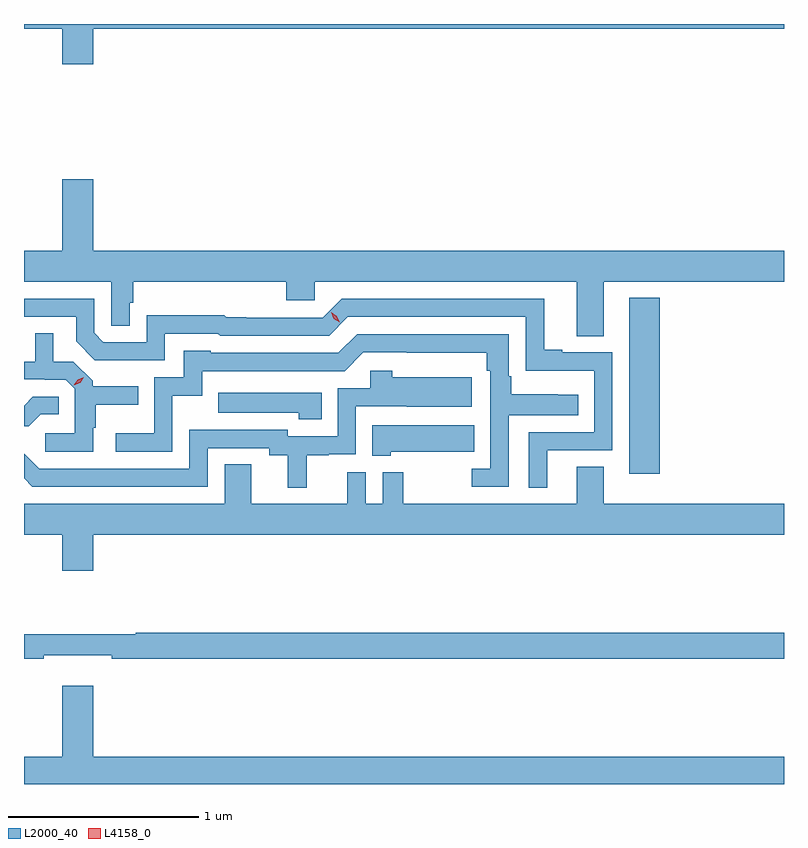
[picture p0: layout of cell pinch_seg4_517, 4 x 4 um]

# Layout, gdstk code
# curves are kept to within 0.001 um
import gdstk
lib = gdstk.Library(unit=1e-6, precision=1e-09)
def R(c, l, rs):  # rectangles x0, y0, x1, y1
    for r in rs: c.add(gdstk.rectangle(r[:2], r[2:], *l))
def P(c, l, *ps):  # polygons
    for p in ps: c.add(gdstk.Polygon(p, *l))
L2000_40 = (2000, 40)
L4158_0 = (4158, 0)

pinch_seg4_517 = lib.new_cell('pinch_seg4_517')
R(pinch_seg4_517, L2000_40, [(1007.153,755.85,1007.314,756.775)])
P(pinch_seg4_517, L2000_40, [(1004.332,758.192),(1007.967,758.192),(1007.967,758.217),(1003.967,758.217),(1003.967,758.192),(1004.168,758.192),(1004.168,758.004),(1004.332,758.004)],
  [(1007.017,756.86),(1007.967,756.86),(1007.967,757.024),(1004.332,757.024),(1004.332,757.399),(1004.168,757.399),(1004.168,757.024),(1003.967,757.024),(1003.967,756.86),(1004.427,756.86),(1004.427,756.628),(1004.523,756.628),(1004.523,756.75),(1004.543,756.75),(1004.543,756.86),(1005.347,756.86),(1005.347,756.762),(1005.498,756.762),(1005.498,756.86),(1006.877,756.86),(1006.877,756.574),(1007.017,756.574)],
  [(1006.72,755.973),(1007.064,755.973),(1007.064,756.489),(1006.801,756.489),(1006.801,756.502),(1006.705,756.502),(1006.705,756.771),(1005.639,756.771),(1005.54,756.672),(1005.032,756.673),(1005.021,756.685),(1004.613,756.685),(1004.613,756.543),(1004.385,756.543),(1004.337,756.591),(1004.337,756.771),(1003.967,756.771),(1003.967,756.675),(1004.241,756.675),(1004.241,756.546),(1004.339,756.448),(1004.449,756.448),(1004.449,756.446),(1004.709,756.446),(1004.709,756.588),(1004.988,756.588),(1005,756.576),(1005.573,756.576),(1005.672,756.675),(1006.608,756.675),(1006.608,756.393),(1006.968,756.393),(1006.968,756.069),(1006.623,756.069),(1006.623,755.777),(1006.72,755.777)],
  [(1004.331,756.093),(1004.344,756.093),(1004.344,756.212),(1004.567,756.212),(1004.567,756.31),(1004.328,756.31),(1004.328,756.339),(1004.227,756.44),(1004.121,756.44),(1004.121,756.59),(1004.025,756.59),(1004.025,756.44),(1003.967,756.44),(1003.967,756.347),(1004.076,756.348),(1004.076,756.345),(1004.187,756.345),(1004.235,756.297),(1004.235,756.063),(1004.079,756.063),(1004.079,755.967),(1004.331,755.967)],
  [(1006.518,756.158),(1006.883,756.158),(1006.883,756.267),(1006.531,756.268),(1006.531,756.364),(1006.518,756.364),(1006.518,756.585),(1005.72,756.585),(1005.621,756.486),(1004.949,756.486),(1004.949,756.496),(1004.808,756.496),(1004.808,756.357),(1004.652,756.357),(1004.652,756.064),(1004.451,756.064),(1004.451,755.967),(1004.748,755.967),(1004.748,756.26),(1004.904,756.26),(1004.904,756.39),(1005.654,756.39),(1005.753,756.489),(1006.402,756.488),(1006.402,756.392),(1006.422,756.392),(1006.422,755.877),(1006.323,755.877),(1006.323,755.781),(1006.518,755.781)],
  [(1005.455,755.947),(1005.572,755.947),(1005.572,755.952),(1005.714,755.952),(1005.714,756.204),(1006.324,756.203),(1006.324,756.358),(1005.905,756.358),(1005.905,756.393),(1005.789,756.393),(1005.789,756.3),(1005.618,756.3),(1005.618,756.048),(1005.354,756.048),(1005.354,756.081),(1004.838,756.081),(1004.838,755.877),(1004.046,755.877),(1003.967,755.956),(1003.967,755.825),(1004.011,755.781),(1004.934,755.781),(1004.934,755.985),(1005.258,755.985),(1005.258,755.947),(1005.356,755.947),(1005.356,755.777),(1005.455,755.777)],
  [(1005.533,756.277),(1004.989,756.277),(1004.989,756.17),(1005.413,756.17),(1005.413,756.137),(1005.533,756.137)],
  [(1004.055,756.162),(1004.15,756.162),(1004.15,756.255),(1004.013,756.255),(1003.967,756.209),(1003.967,756.099),(1003.992,756.099)],
  [(1005.897,755.966),(1006.337,755.966),(1006.337,756.106),(1005.799,756.106),(1005.799,755.945),(1005.897,755.945)],
  [(1004.332,755.528),(1007.967,755.528),(1007.967,755.692),(1007.017,755.692),(1007.017,755.888),(1006.877,755.888),(1006.877,755.692),(1005.964,755.692),(1005.964,755.857),(1005.855,755.857),(1005.855,755.692),(1005.765,755.692),(1005.765,755.857),(1005.668,755.857),(1005.668,755.692),(1005.163,755.692),(1005.163,755.9),(1005.023,755.9),(1005.023,755.692),(1003.967,755.692),(1003.967,755.528),(1004.168,755.528),(1004.168,755.34),(1004.332,755.34)],
  [(1004.072,754.895),(1004.428,754.895),(1004.428,754.876),(1007.967,754.876),(1007.967,755.012),(1004.555,755.012),(1004.555,755.005),(1003.967,755.005),(1003.967,754.876),(1004.072,754.876)],
  [(1007.967,754.36),(1004.332,754.36),(1004.332,754.735),(1004.168,754.735),(1004.168,754.36),(1003.967,754.36),(1003.967,754.217),(1007.967,754.217)])
P(pinch_seg4_517, L4158_0, [(1004.229,756.315),(1004.229,756.316),(1004.249,756.345),(1004.282,756.359),(1004.282,756.359),(1004.282,756.359),(1004.262,756.33),(1004.229,756.315)],
  [(1005.628,756.646),(1005.598,756.667),(1005.583,756.7),(1005.583,756.7),(1005.584,756.7),(1005.614,756.68),(1005.629,756.646),(1005.629,756.646)])

lib.write_gds('pinch_seg4_517.gds')
